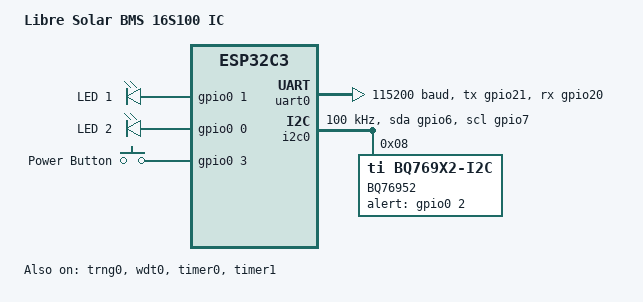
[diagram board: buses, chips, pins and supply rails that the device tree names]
/*
 * Copyright (c) The Libre Solar Project Contributors
 *
 * SPDX-License-Identifier: Apache-2.0
 */

/dts-v1/;

#include <espressif/esp32c3.dtsi>
#include <dt-bindings/pinctrl/esp32c3-pinctrl.h>
#include <zephyr/dt-bindings/pinctrl/esp-pinctrl-common.h>
#include <zephyr/dt-bindings/pinctrl/esp32c3-gpio-sigmap.h>

/ {
	model = "Libre Solar BMS 16S100 IC";
	compatible = "espressif,esp32c3";

	pcb {
		compatible = "bms";

		type = "BMS 16S100 SC ESP32C3";
		version-str = "v0.2";
		version-num = <2>;

		num-cells-max = <16>;
		num-thermistors-max = <2>;

		current-max = <100>;
		shunt-res = <500>;
	};

	chosen {
		zephyr,sram = &sram0;
		zephyr,console = &uart0;
		zephyr,shell-uart = &uart0;
		zephyr,flash = &flash0;
		zephyr,code-partition = &slot0_partition;
	};

	leds {
		compatible = "gpio-leds";
		led1: led_0 {
			gpios = <&gpio0 1 GPIO_ACTIVE_HIGH>;
			label = "LED 1";
		};
		led2: led_1 {
			gpios = <&gpio0 0 GPIO_ACTIVE_HIGH>;
			label = "LED 2";
		};
	};

	gpio_keys {
		compatible = "gpio-keys";
		power_button: button {
			label = "Power Button";
			gpios = <&gpio0 3 GPIO_ACTIVE_HIGH>;
		};
	};

	switches {
		compatible = "switch";
		can_en {
			gpios = <&gpio0 10 GPIO_ACTIVE_LOW>;
			label = "CAN transceiver enable";
		};
	};

	aliases {
		led-red = &led1;
		led-green = &led2;
		uart-dbg = &uart0;
		sw-pwr = &power_button;
	};
};

&cpu0 {
	clock-frequency = <ESP32_CLK_CPU_160M>;
};

&uart0 {
	status = "okay";
	current-speed = <115200>;
	pinctrl-0 = <&uart0_tx_gpio21 &uart0_rx_gpio20>;
	pinctrl-names = "default";
};

&i2c0 {
	status = "okay";
	clock-frequency = <I2C_BITRATE_STANDARD>;
	sda-pin = <6>; // redundant, but doesn't compile otherwise
	scl-pin = <7>; // redundant, but doesn't compile otherwise
	pinctrl-0 = <&i2c0_sda_gpio6 &i2c0_scl_gpio7>;
	pinctrl-names = "default";

	bq769x2@8 {
		compatible = "ti,bq769x2-i2c";
		label = "BQ76952";
		reg = <0x08>;	/* 0x10 >> 1 */
		alert-gpios = <&gpio0 2 GPIO_ACTIVE_HIGH>;
	};
};

&trng0 {
	status = "okay";
};

&gpio0 {
	status = "okay";
};

&wdt0 {
	status = "okay";
};

&timer0 {
	status = "okay";
};

&timer1 {
	status = "okay";
};

&flash0 {
	status = "okay";
	partitions {
		compatible = "fixed-partitions";
		#address-cells = <1>;
		#size-cells = <1>;

		/* Reserve 60kB for the bootloader */
		boot_partition: partition@0 {
			label = "mcuboot";
			reg = <0x00000000 0x0000F000>;
			read-only;
		};

		/* Reserve 1024kB for the application in slot 0 */
		slot0_partition: partition@10000 {
			label = "image-0";
			reg = <0x00010000 0x00100000>;
		};

		/* Reserve 1024kB for the application in slot 1 */
		slot1_partition: partition@110000 {
			label = "image-1";
			reg = <0x00110000 0x00100000>;
		};

		/* Reserve 256kB for the scratch partition */
		scratch_partition: partition@210000 {
			   label = "image-scratch";
			   reg = <0x00210000 0x00040000>;
		};

		storage_partition: partition@250000 {
			label = "storage";
			reg = <0x00250000 0x00006000>;
		};
	};
};

&pinctrl {
	uart0_tx_gpio21: uart0_tx_gpio21 {
		pinmux = <UART0_TX_GPIO21>;
	};

	uart0_rx_gpio20: uart0_rx_gpio20 {
		pinmux = <UART0_RX_GPIO20>;
		bias-pull-up;
	};

	i2c0_sda_gpio6: i2c0_sda_gpio6 {
		pinmux = <I2C0_SDA_GPIO6>;
		bias-pull-up;
		drive-open-drain;
		output-high;
	};

	i2c0_scl_gpio7: i2c0_scl_gpio7 {
		pinmux = <I2C0_SCL_GPIO7>;
		bias-pull-up;
		drive-open-drain;
		output-high;
	};
};
